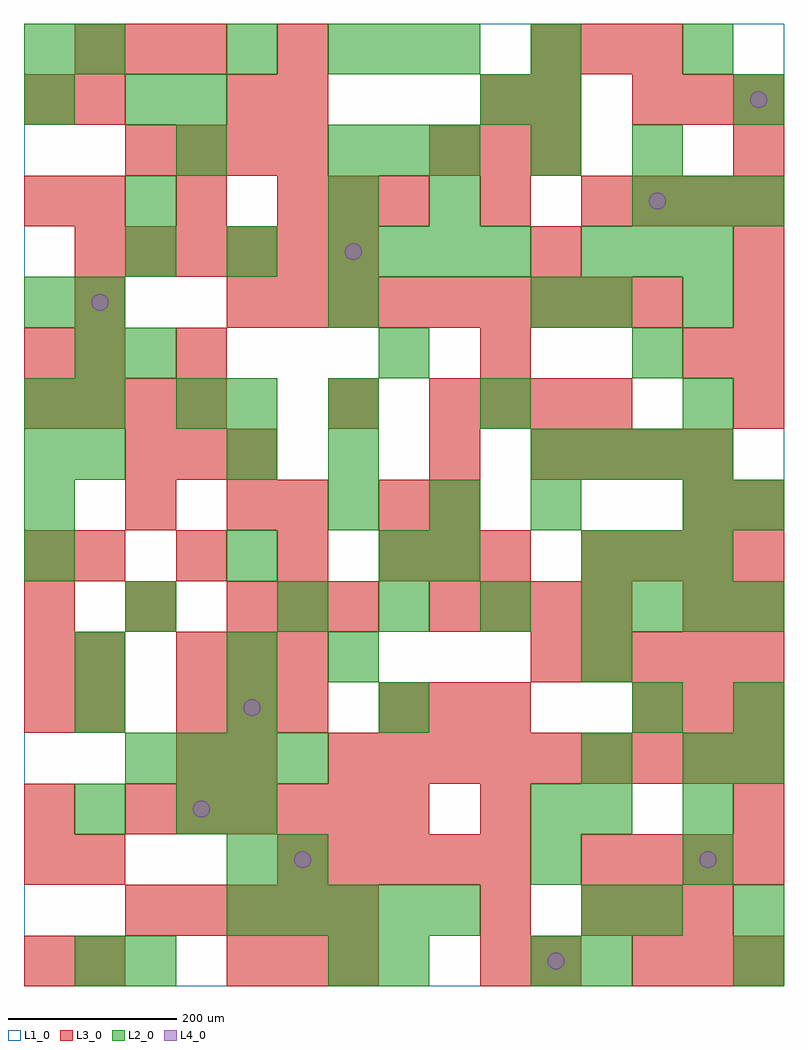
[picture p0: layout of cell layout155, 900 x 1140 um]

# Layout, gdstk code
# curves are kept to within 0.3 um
import gdstk
lib = gdstk.Library(unit=1e-6, precision=1e-09)
def R(c, l, rs):  # rectangles x0, y0, x1, y1
    for r in rs: c.add(gdstk.rectangle(r[:2], r[2:], *l))
def A(c, l, x, y, w, h, nx, ny, dx, dy):  # array of equal rectangles
    R(c, l, [(x+i*dx, y+j*dy, x+i*dx+w, y+j*dy+h) for i in range(nx) for j in range(ny)])
def P(c, l, *ps):  # polygons
    for p in ps: c.add(gdstk.Polygon(p, *l))
L1_0 = (1, 0)
L2_0 = (2, 0)
L3_0 = (3, 0)
L4_0 = (4, 0)

layout155 = lib.new_cell('layout155')
R(layout155, L1_0, [(0,0,900,1140)])
A(layout155, L2_0, 60, 0, 60, 60, 1, 3, 0, 180)
A(layout155, L2_0, 240, 60, 60, 60, 5, 1, 60, 0)
A(layout155, L2_0, 780, 120, 60, 60, 1, 3, 0, 60)
A(layout155, L2_0, 120, 240, 60, 60, 4, 1, 60, 0)
A(layout155, L2_0, 60, 300, 60, 60, 3, 1, 180, 0)
A(layout155, L2_0, 240, 360, 60, 60, 1, 3, 0, 120)
A(layout155, L2_0, 300, 420, 60, 60, 4, 1, 120, 0)
A(layout155, L2_0, 720, 420, 60, 60, 3, 2, 60, 480)
A(layout155, L2_0, 0, 480, 60, 60, 1, 4, 0, 60)
A(layout155, L2_0, 660, 480, 60, 60, 3, 2, 60, 360)
A(layout155, L2_0, 360, 540, 60, 60, 3, 1, 120, 0)
A(layout155, L2_0, 780, 540, 60, 60, 1, 3, 0, 120)
A(layout155, L2_0, 60, 600, 60, 60, 1, 4, 0, 60)
A(layout155, L2_0, 600, 600, 60, 60, 4, 1, 60, 0)
A(layout155, L2_0, 360, 660, 60, 60, 1, 3, 0, 120)
A(layout155, L2_0, 120, 720, 60, 60, 3, 1, 300, 0)
A(layout155, L2_0, 120, 840, 60, 60, 3, 1, 120, 0)
A(layout155, L2_0, 420, 840, 60, 60, 3, 1, 60, 0)
A(layout155, L2_0, 360, 960, 60, 60, 3, 2, 60, 120)
A(layout155, L2_0, 600, 960, 60, 60, 1, 3, 0, 60)
R(layout155, L2_0, [(120,0,180,60), (360,0,420,60), (420,0,480,60), (600,0,660,60), (660,0,720,60), (840,0,900,60), (660,60,720,120), (720,60,780,120), (840,60,900,120), (240,120,300,180), (300,120,360,180), (600,120,660,180), (180,180,240,240), (240,180,300,240), (600,180,660,240), (660,180,720,240), (660,240,720,300), (840,240,900,300), (720,300,780,360), (840,300,900,360), (360,360,420,420), (660,360,720,420), (120,420,180,480), (420,480,480,540), (480,480,540,540), (840,540,900,600), (360,600,420,660), (180,660,240,720), (240,660,300,720), (540,660,600,720), (0,780,60,840), (600,780,660,840), (660,780,720,840), (120,900,180,960), (480,900,540,960), (180,960,240,1020), (720,960,780,1020), (0,1020,60,1080), (120,1020,180,1080), (180,1020,240,1080), (540,1020,600,1080), (840,1020,900,1080), (0,1080,60,1140), (60,1080,120,1140), (240,1080,300,1140), (780,1080,840,1140)])
A(layout155, L3_0, 240, 0, 60, 60, 3, 1, 60, 0)
A(layout155, L3_0, 720, 0, 60, 60, 3, 2, 60, 300)
A(layout155, L3_0, 120, 60, 60, 60, 5, 1, 60, 0)
A(layout155, L3_0, 660, 60, 60, 60, 3, 1, 60, 0)
A(layout155, L3_0, 300, 120, 60, 60, 5, 1, 60, 0)
A(layout155, L3_0, 660, 120, 60, 60, 4, 2, 60, 360)
A(layout155, L3_0, 120, 180, 60, 60, 6, 1, 60, 0)
A(layout155, L3_0, 360, 240, 60, 60, 9, 1, 60, 0)
A(layout155, L3_0, 180, 300, 60, 60, 3, 2, 60, 60)
A(layout155, L3_0, 420, 300, 60, 60, 3, 1, 60, 0)
A(layout155, L3_0, 600, 360, 60, 60, 5, 1, 60, 0)
A(layout155, L3_0, 0, 420, 60, 60, 3, 1, 120, 0)
A(layout155, L3_0, 360, 420, 60, 60, 1, 3, 0, 240)
A(layout155, L3_0, 480, 420, 60, 60, 4, 2, 60, 240)
A(layout155, L3_0, 840, 420, 60, 60, 1, 3, 0, 120)
A(layout155, L3_0, 60, 480, 60, 60, 4, 1, 120, 0)
A(layout155, L3_0, 480, 480, 60, 60, 1, 3, 0, 60)
A(layout155, L3_0, 120, 600, 60, 60, 3, 1, 60, 0)
A(layout155, L3_0, 600, 600, 60, 60, 4, 1, 60, 0)
A(layout155, L3_0, 0, 660, 60, 60, 4, 1, 60, 0)
A(layout155, L3_0, 840, 720, 60, 60, 1, 3, 0, 60)
A(layout155, L3_0, 240, 780, 60, 60, 9, 1, 60, 0)
A(layout155, L3_0, 60, 840, 60, 60, 6, 1, 60, 0)
A(layout155, L3_0, 60, 900, 60, 60, 3, 1, 120, 0)
A(layout155, L3_0, 420, 900, 60, 60, 3, 1, 120, 0)
A(layout155, L3_0, 720, 900, 60, 60, 3, 2, 60, 120)
A(layout155, L3_0, 120, 960, 60, 60, 4, 1, 60, 0)
A(layout155, L3_0, 480, 960, 60, 60, 3, 1, 60, 0)
A(layout155, L3_0, 60, 1080, 60, 60, 3, 1, 60, 0)
A(layout155, L3_0, 600, 1080, 60, 60, 3, 1, 60, 0)
R(layout155, L3_0, [(0,0,60,60), (60,0,120,60), (540,0,600,60), (600,0,660,60), (540,60,600,120), (0,120,60,180), (60,120,120,180), (0,180,60,240), (540,180,600,240), (840,180,900,240), (180,240,240,300), (240,240,300,300), (0,300,60,360), (60,300,120,360), (0,360,60,420), (60,360,120,420), (300,420,360,480), (780,420,840,480), (0,480,60,540), (540,480,600,540), (120,540,180,600), (240,540,300,600), (300,540,360,600), (420,540,480,600), (780,540,840,600), (0,720,60,780), (60,720,120,780), (180,720,240,780), (540,720,600,780), (780,720,840,780), (60,780,120,840), (600,840,660,900), (0,900,60,960), (840,960,900,1020), (0,1020,60,1080), (60,1020,120,1080), (240,1020,300,1080), (300,1020,360,1080), (540,1020,600,1080), (600,1020,660,1080), (300,1080,360,1140)])
P(layout155, L4_0, [(100,810),(99.239,813.827),(97.071,817.071),(93.827,819.239),(90,820),(86.173,819.239),(82.929,817.071),(80.761,813.827),(80,810),(80.761,806.173),(82.929,802.929),(86.173,800.761),(90,800),(93.827,800.761),(97.071,802.929),(99.239,806.173)],
  [(220,210),(219.239,213.827),(217.071,217.071),(213.827,219.239),(210,220),(206.173,219.239),(202.929,217.071),(200.761,213.827),(200,210),(200.761,206.173),(202.929,202.929),(206.173,200.761),(210,200),(213.827,200.761),(217.071,202.929),(219.239,206.173)],
  [(280,330),(279.239,333.827),(277.071,337.071),(273.827,339.239),(270,340),(266.173,339.239),(262.929,337.071),(260.761,333.827),(260,330),(260.761,326.173),(262.929,322.929),(266.173,320.761),(270,320),(273.827,320.761),(277.071,322.929),(279.239,326.173)],
  [(340,150),(339.239,153.827),(337.071,157.071),(333.827,159.239),(330,160),(326.173,159.239),(322.929,157.071),(320.761,153.827),(320,150),(320.761,146.173),(322.929,142.929),(326.173,140.761),(330,140),(333.827,140.761),(337.071,142.929),(339.239,146.173)],
  [(400,870),(399.239,873.827),(397.071,877.071),(393.827,879.239),(390,880),(386.173,879.239),(382.929,877.071),(380.761,873.827),(380,870),(380.761,866.173),(382.929,862.929),(386.173,860.761),(390,860),(393.827,860.761),(397.071,862.929),(399.239,866.173)],
  [(640,30),(639.239,33.827),(637.071,37.071),(633.827,39.239),(630,40),(626.173,39.239),(622.929,37.071),(620.761,33.827),(620,30),(620.761,26.173),(622.929,22.929),(626.173,20.761),(630,20),(633.827,20.761),(637.071,22.929),(639.239,26.173)],
  [(760,930),(759.239,933.827),(757.071,937.071),(753.827,939.239),(750,940),(746.173,939.239),(742.929,937.071),(740.761,933.827),(740,930),(740.761,926.173),(742.929,922.929),(746.173,920.761),(750,920),(753.827,920.761),(757.071,922.929),(759.239,926.173)],
  [(820,150),(819.239,153.827),(817.071,157.071),(813.827,159.239),(810,160),(806.173,159.239),(802.929,157.071),(800.761,153.827),(800,150),(800.761,146.173),(802.929,142.929),(806.173,140.761),(810,140),(813.827,140.761),(817.071,142.929),(819.239,146.173)],
  [(880,1050),(879.239,1053.827),(877.071,1057.071),(873.827,1059.239),(870,1060),(866.173,1059.239),(862.929,1057.071),(860.761,1053.827),(860,1050),(860.761,1046.173),(862.929,1042.929),(866.173,1040.761),(870,1040),(873.827,1040.761),(877.071,1042.929),(879.239,1046.173)])

lib.write_gds('layout155.gds')
